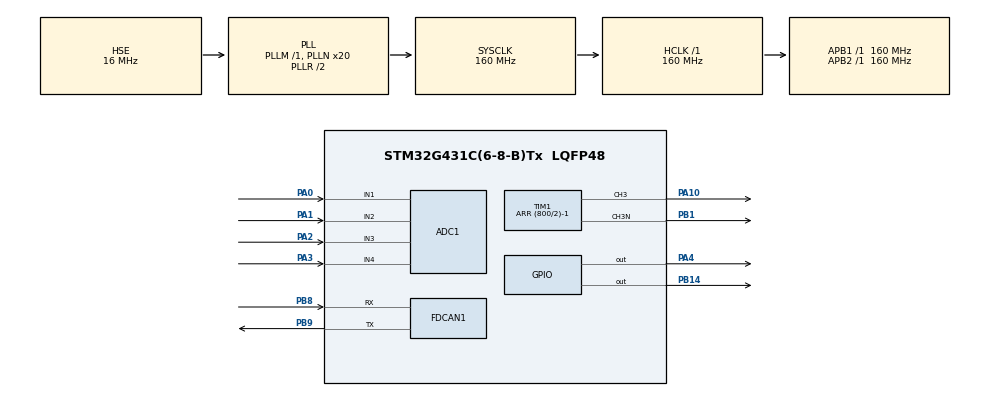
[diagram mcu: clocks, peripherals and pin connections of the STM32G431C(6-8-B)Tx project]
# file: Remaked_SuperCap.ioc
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ADC1.Channel-0\#ChannelRegularConversion=ADC_CHANNEL_1
ADC1.Channel-1\#ChannelRegularConversion=ADC_CHANNEL_2
ADC1.Channel-2\#ChannelRegularConversion=ADC_CHANNEL_3
ADC1.Channel-3\#ChannelRegularConversion=ADC_CHANNEL_4
ADC1.Channel-4\#ChannelRegularConversion=ADC_CHANNEL_4
ADC1.ContinuousConvMode=DISABLE
ADC1.DMAContinuousRequests=ENABLE
ADC1.ExternalTrigConv=ADC_EXTERNALTRIG_T1_TRGO
ADC1.NbrOfConversion=5
ADC1.NbrOfConversionFlag=1
ADC1.OffsetNumber-0\#ChannelRegularConversion=ADC_OFFSET_NONE
ADC1.OffsetNumber-1\#ChannelRegularConversion=ADC_OFFSET_NONE
ADC1.OffsetNumber-2\#ChannelRegularConversion=ADC_OFFSET_NONE
ADC1.OffsetNumber-3\#ChannelRegularConversion=ADC_OFFSET_NONE
ADC1.OffsetNumber-4\#ChannelRegularConversion=ADC_OFFSET_NONE
ADC1.Overrun=ADC_OVR_DATA_OVERWRITTEN
ADC1.Rank-0\#ChannelRegularConversion=1
ADC1.Rank-1\#ChannelRegularConversion=2
ADC1.Rank-2\#ChannelRegularConversion=3
ADC1.Rank-3\#ChannelRegularConversion=4
ADC1.Rank-4\#ChannelRegularConversion=5
ADC1.SamplingTime-0\#ChannelRegularConversion=ADC_SAMPLETIME_6CYCLES_5
ADC1.SamplingTime-1\#ChannelRegularConversion=ADC_SAMPLETIME_6CYCLES_5
ADC1.SamplingTime-2\#ChannelRegularConversion=ADC_SAMPLETIME_6CYCLES_5
ADC1.SamplingTime-3\#ChannelRegularConversion=ADC_SAMPLETIME_6CYCLES_5
ADC1.SamplingTime-4\#ChannelRegularConversion=ADC_SAMPLETIME_2CYCLES_5
ADC1.master=1
Dma.ADC1.0.Direction=DMA_PERIPH_TO_MEMORY
Dma.ADC1.0.EventEnable=DISABLE
Dma.ADC1.0.Instance=DMA1_Channel1
Dma.ADC1.0.MemDataAlignment=DMA_MDATAALIGN_HALFWORD
Dma.ADC1.0.MemInc=DMA_MINC_ENABLE
Dma.ADC1.0.Mode=DMA_CIRCULAR
Dma.ADC1.0.PeriphDataAlignment=DMA_PDATAALIGN_HALFWORD
Dma.ADC1.0.PeriphInc=DMA_PINC_DISABLE
Dma.ADC1.0.Polarity=HAL_DMAMUX_REQ_GEN_RISING
Dma.ADC1.0.Priority=DMA_PRIORITY_HIGH
Dma.ADC1.0.RequestNumber=1
Dma.ADC1.0.SignalID=NONE
Dma.ADC1.0.SyncEnable=DISABLE
Dma.ADC1.0.SyncPolarity=HAL_DMAMUX_SYNC_NO_EVENT
Dma.ADC1.0.SyncRequestNumber=1
Dma.ADC1.0.SyncSignalID=NONE
Dma.Request0=ADC1
FDCAN1.CalculateBaudRateNominal=1000000
FDCAN1.CalculateTimeBitNominal=1000
FDCAN1.CalculateTimeQuantumNominal=31.25
FDCAN1.ClockDivider=FDCAN_CLOCK_DIV1
FDCAN1.NominalPrescaler=5
FDCAN1.NominalTimeSeg1=24
FDCAN1.NominalTimeSeg2=7
FDCAN1.StdFiltersNbr=1
Mcu.Family=STM32G4
Mcu.Name=STM32G431C(6-8-B)Tx
Mcu.Package=LQFP48
NVIC.ADC1_2_IRQn=true\:0\:0\:true\:false\:true\:true\:true\:true
NVIC.DMA1_Channel1_IRQn=true\:0\:0\:false\:false\:true\:false\:true\:true
NVIC.FDCAN1_IT0_IRQn=true\:2\:0\:true\:false\:true\:true\:true\:true
NVIC.FDCAN1_IT1_IRQn=true\:2\:0\:true\:false\:true\:true\:true\:true
NVIC.PriorityGroup=NVIC_PRIORITYGROUP_4
NVIC.TIM1_UP_TIM16_IRQn=true\:0\:0\:true\:false\:true\:true\:true\:true
NVIC.TIM2_IRQn=true\:1\:0\:true\:false\:true\:true\:true\:true
PA0.Mode=IN1-Single-Ended
PA0.Signal=ADC1_IN1
PA1.Mode=IN2-Single-Ended
PA1.Signal=ADC1_IN2
PA10.Signal=S_TIM1_CH3
PA13.Mode=Serial_Wire
PA13.Signal=SYS_JTMS-SWDIO
PA14.Mode=Serial_Wire
PA14.Signal=SYS_JTCK-SWCLK
PA2.Mode=IN3-Single-Ended
PA2.Signal=ADC1_IN3
PA3.Mode=IN4-Single-Ended
PA3.Signal=ADC1_IN4
PA4.Signal=GPIO_Output
PB1.Mode=PWM Generation3 CH3 CH3N
PB1.Signal=TIM1_CH3N
PB14.Signal=GPIO_Output
PB8-BOOT0.Mode=FDCAN_Activate
PB8-BOOT0.Signal=FDCAN1_RX
PB9.Mode=FDCAN_Activate
PB9.Signal=FDCAN1_TX
PF0-OSC_IN.Mode=HSE-External-Oscillator
PF0-OSC_IN.Signal=RCC_OSC_IN
PF1-OSC_OUT.Mode=HSE-External-Oscillator
PF1-OSC_OUT.Signal=RCC_OSC_OUT
ProjectManager.HeapSize=0x200
ProjectManager.StackSize=0x400
ProjectManager.TargetToolchain=MDK-ARM V5.32
RCC.ADC12Freq_Value=160000000
RCC.AHBFreq_Value=160000000
RCC.APB1Freq_Value=160000000
RCC.APB1TimFreq_Value=160000000
RCC.APB2Freq_Value=160000000
RCC.APB2TimFreq_Value=160000000
RCC.CortexFreq_Value=160000000
RCC.EXTERNAL_CLOCK_VALUE=12288000
RCC.HCLKFreq_Value=160000000
RCC.HSE_VALUE=16000000
RCC.HSI48_VALUE=48000000
RCC.HSI_VALUE=16000000
RCC.LSE_VALUE=32768
RCC.PLLN=20
RCC.PLLSourceVirtual=RCC_PLLSOURCE_HSE
RCC.SYSCLKFreq_VALUE=160000000
RCC.SYSCLKSource=RCC_SYSCLKSOURCE_PLLCLK
RCC.USBFreq_Value=160000000
RCC.VCOOutputFreq_Value=320000000
SH.S_TIM1_CH3.0=TIM1_CH3,PWM Generation3 CH3 CH3N
TIM1.AutoReloadPreload=TIM_AUTORELOAD_PRELOAD_ENABLE
TIM1.Channel-PWM\ Generation3\ CH3\ CH3N=TIM_CHANNEL_3
TIM1.CounterMode=TIM_COUNTERMODE_CENTERALIGNED1
TIM1.DeadTime=6
TIM1.DeadTimePreload=ENABLE
TIM1.PeriodNoDither=(800/2)-1
TIM1.PulseNoDither_3=200
TIM1.RepetitionCounter=2-1
TIM1.TIM_MasterOutputTrigger=TIM_TRGO_UPDATE
TIM2.PeriodNoDither=200-1
TIM2.Prescaler=1600-1
TIM2.TIM_MasterOutputTrigger=TIM_TRGO_UPDATE
VP_SYS_VS_DBSignals.Mode=DisableDeadBatterySignals
VP_TIM2_VS_ClockSourceINT.Mode=Internal
board=custom

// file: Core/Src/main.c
/* USER CODE BEGIN Header */
/**
  ******************************************************************************
  * @file           : main.c
  * @brief          : Main program body
  ******************************************************************************
  * @attention
  *
  * Copyright (c) 2026 STMicroelectronics.
  * All rights reserved.
  *
  * This software is licensed under terms that can be found in the LICENSE file
  * in the root directory of this software component.
  * If no LICENSE file comes with this software, it is provided AS-IS.
  *
  ******************************************************************************
  */
/* USER CODE END Header */
#include "main.h"
#include "adc.h"
#include "dma.h"
#include "fdcan.h"
#include "tim.h"
#include "gpio.h"

/* USER CODE BEGIN PV */
volatile uint8_t adc_ready_flag=0;

volatile uint16_t adc_buf[5]={0};
float Vcap=0, Vbat=0;
float Icap=0, Ibat=0;
float Pbat=0,Pcap=0,Pref=15;

int initialstart=1;//
int capemerged = 0;

int Duty = 0;

/*
PID Data Structure
*/
PI_Controller pi_pbat =
{
  .kp      = 0.05f,
  .ki      = 12.0f,
  .ts      = 0.01f,

  .integral = 0.0f,
  .out_min  = Icap_chg_max_i,   // ??????
  .out_max  = Icap_dis_max_i    // ??????
};
PI_Controller pi_pbat_SS =
{
  .kp      = 0.05f,//0.05
  .ki      = 12.0f,//12
  .ts      = 0.01f,//0.0005

  .integral = 0.0f,
  .out_min  = Icap_CC,   // ??????
  .out_max  = 0    // ??????
};
PI_Controller pi_icap =
{
  .kp      = 0.18f,
  .ki      = 600.0f,//-------------------------------
  .ts      = 0.00002f,

  .integral = 0.0f,
  .out_min  = D_MIN_i,
  .out_max  = D_MAX_i
};

enum CapProtection
{Default=0,BatOverCurrent,CapDischargeOC,CapChargeOC,CapOverVoltage,ADCOffline,Normal,BatOVP}
errName=6;
enum CHARGESTATUS
{SoftStart=1,Norm=2}
ChargeState=0;
/* USER CODE END PV */

void SystemClock_Config(void);

int main(void)
{

  /* MCU Configuration--------------------------------------------------------*/

  /* Reset of all peripherals, Initializes the Flash interface and the Systick. */
  HAL_Init();

  /* Configure the system clock */
  SystemClock_Config();

  /* Initialize all configured peripherals */
  MX_GPIO_Init();
  MX_DMA_Init();
  MX_FDCAN1_Init();
  MX_ADC1_Init();
  MX_TIM1_Init();
  MX_TIM2_Init();
  /* USER CODE BEGIN 2 */
  TIM1->BDTR &= ~TIM_BDTR_MOE;
  HAL_GPIO_WritePin(GPIOA,GPIO_PIN_4,0);
  capemerged=0;
  // 1. 先启动FDCAN
  if (HAL_FDCAN_Start(&hfdcan1) != HAL_OK) {
    Error_Handler();
  }

  // 2. 再配置过滤器和中断
  FDCAN_Filter_Init();

  HAL_FDCAN_ActivateNotification(&hfdcan1,FDCAN_IT_RX_FIFO0_NEW_MESSAGE,0);

  Protection();
  HAL_TIM_PWM_Start(&htim1,TIM_CHANNEL_3);
  HAL_TIMEx_PWMN_Start(&htim1,TIM_CHANNEL_3);
  HAL_TIM_Base_Start_IT(&htim1);
  __HAL_TIM_ENABLE_IT(&htim1, TIM_IT_UPDATE);

  HAL_TIM_Base_Start_IT(&htim2);
  HAL_TIM_Base_Start(&htim2);

  HAL_ADC_Start_DMA(&hadc1, (uint32_t *)adc_buf, 5);
  /* USER CODE END 2 */

  /* Infinite loop */
  /* USER CODE BEGIN WHILE */
  while (1)
  {
    HAL_GPIO_WritePin(GPIOA,GPIO_PIN_4,1);//注释掉后关闭了超电功能
    capemerged=1;

    if(initialstart && Duty && capemerged){
      HAL_GPIO_WritePin(GPIOA,GPIO_PIN_4,1);
      TIM1->BDTR |= TIM_BDTR_MOE;
    }

    CAN_ReceiveDataRefresh_Flag = 1;
    HAL_Delay(1);
    /* USER CODE END WHILE */

  }
}

void SystemClock_Config(void)
{
  RCC_OscInitTypeDef RCC_OscInitStruct = {0};
  RCC_ClkInitTypeDef RCC_ClkInitStruct = {0};

  /** Configure the main internal regulator output voltage
  */
  HAL_PWREx_ControlVoltageScaling(PWR_REGULATOR_VOLTAGE_SCALE1_BOOST);

  /** Initializes the RCC Oscillators according to the specified parameters
  * in the RCC_OscInitTypeDef structure.
  */
  RCC_OscInitStruct.OscillatorType = RCC_OSCILLATORTYPE_HSE;
  RCC_OscInitStruct.HSEState = RCC_HSE_ON;
  RCC_OscInitStruct.PLL.PLLState = RCC_PLL_ON;
  RCC_OscInitStruct.PLL.PLLSource = RCC_PLLSOURCE_HSE;
  RCC_OscInitStruct.PLL.PLLM = RCC_PLLM_DIV1;
  RCC_OscInitStruct.PLL.PLLN = 20;
  RCC_OscInitStruct.PLL.PLLP = RCC_PLLP_DIV2;
  RCC_OscInitStruct.PLL.PLLQ = RCC_PLLQ_DIV2;
  RCC_OscInitStruct.PLL.PLLR = RCC_PLLR_DIV2;
  if (HAL_RCC_OscConfig(&RCC_OscInitStruct) != HAL_OK)
  {
    Error_Handler();
  }

  /** Initializes the CPU, AHB and APB buses clocks
  */
  RCC_ClkInitStruct.ClockType = RCC_CLOCKTYPE_HCLK|RCC_CLOCKTYPE_SYSCLK
                              |RCC_CLOCKTYPE_PCLK1|RCC_CLOCKTYPE_PCLK2;
  RCC_ClkInitStruct.SYSCLKSource = RCC_SYSCLKSOURCE_PLLCLK;
  RCC_ClkInitStruct.AHBCLKDivider = RCC_SYSCLK_DIV1;
  RCC_ClkInitStruct.APB1CLKDivider = RCC_HCLK_DIV1;
  RCC_ClkInitStruct.APB2CLKDivider = RCC_HCLK_DIV1;

  if (HAL_RCC_ClockConfig(&RCC_ClkInitStruct, FLASH_LATENCY_4) != HAL_OK)
  {
    Error_Handler();
  }
}

/* USER CODE BEGIN 4 */

/*
ADC-Converting
*/
void ADC_ConvertToPhysical(){
  Vbat=( 0.00848 * adc_buf[0] +  0.62);
  Vcap=( 0.00844 * adc_buf[1] +  0.56);
  Ibat=( 0.00402 * adc_buf[2] -  0.01);
  Icap=( 0.01957 * adc_buf[3] - 38.67);
  //Temp=adc_buf[4];
}

/*
PowerCalculating
*/
void Physical_Calc(){
  Pbat=Ibat*Vbat;
  Pcap=Icap*Vcap;
}

/*
Limit
*/
float LIMIT(float p,float min,float max){
  if (p < min) return min;
  if (p > max) return max;
  return p;
}

/*
PI_RUN
based on a structed PI
*/
float PI_Run(PI_Controller *pi,float ref,float fdb)
{
  float err = ref - fdb;

  /* ?? */
  pi->integral += pi->ki * err * pi->ts;

  /* anti-windup:???? */
  if (pi->integral > pi->out_max)
    pi->integral = pi->out_max;
  else if (pi->integral < pi->out_min)
    pi->integral = pi->out_min;

  /* ?? */
  float out = pi->kp * err + pi->integral;

  /* ???? */
  if (out > pi->out_max)
    out = pi->out_max;
  else if (out < pi->out_min)
    out = pi->out_min;

  return out;
}

/*
PI_Control
*/
float Pbat_Control(float Pref,float Pbat,float Vcap)
{
  if (Vcap < Vcap_CC)//SoftStart
  {
    StopRunning(0);
    return PI_Run(&pi_pbat_SS, Pbat, Pref);
  }
  StopRunning(0);
  return PI_Run(&pi_pbat, Pbat, Pref);
}
float Icap_Control(float Icap_ref,float Icap)
{
  return PI_Run(&pi_icap, Icap, Icap_ref);
}

/*
StopRunning
*/
void StopRunning(int errCode){
  if(errCode){
    if(initialstart){
      TIM1->BDTR &= ~TIM_BDTR_MOE;
      //HAL_GPIO_WritePin(GPIOA,GPIO_PIN_4,0);
      HAL_GPIO_WritePin(GPIOA,GPIO_PIN_4,0);
      capemerged=0;
      errName=errCode;
      return;
    }
  }
  else if(Vcap>Vcap_CC){
    ChargeState=2;
    return;
  }
  else {
    ChargeState=1;
    return;
  }
}

/*
Protection_Detection
*/
int ProtectionCnt=0;
void Protection(){//
  if(Ibat > Ibat_max){
    if(ProtectionCnt == 3) StopRunning(1);
    else ProtectionCnt+=1;
  }
  else if(Icap >  Icap_max){
    if(ProtectionCnt == 3) StopRunning(2);
    else ProtectionCnt+=1;
  }
  else if(Icap <  Icap_min ) {
    if(ProtectionCnt == 3) StopRunning(3);
    else ProtectionCnt+=1;
  }
  else if(Vcap > Vcap_max) {
    //if(ProtectionCnt == 3)
    StopRunning(4);
    //else ProtectionCnt+=1;
  }
  else if(Vbat > Vbat_max) {
    //if(ProtectionCnt == 3)
    StopRunning(7);
    //else ProtectionCnt+=1;
  }
  else ProtectionCnt = 0;

}
/* USER CODE END 4 */

void Error_Handler(void)
{
  __disable_irq();
  while (1)
  {
  }
}
